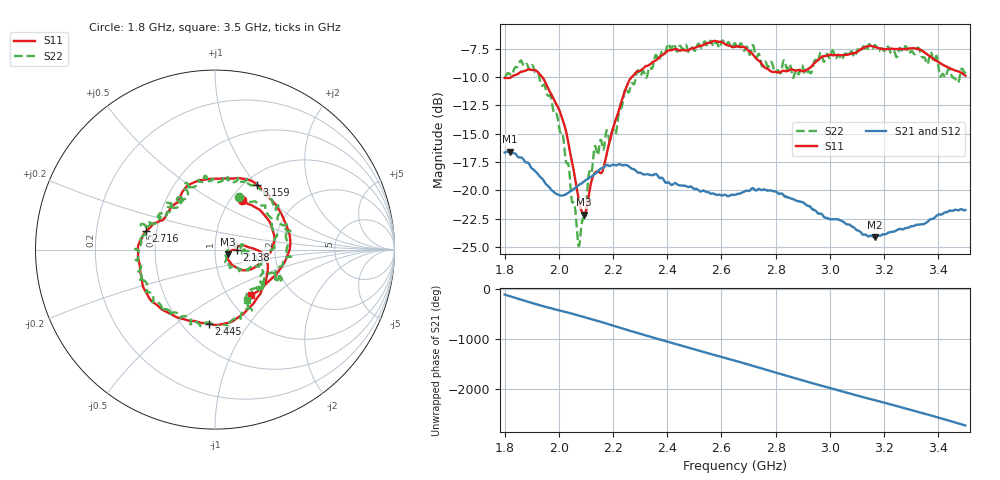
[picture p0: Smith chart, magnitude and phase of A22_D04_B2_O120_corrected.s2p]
! Created with skrf 1.9.0 (http://scikit-rf.org).
# Hz S RI R 50.0
!freq ReS11 ImS11 ReS21 ImS21 ReS12 ImS12 ReS22 ImS22
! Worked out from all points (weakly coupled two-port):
!   1601 points, 1.8 GHz to 3.5 GHz, reference 50 ohm
!   highest |S21| = -16.58 dB at 1.818 GHz (marker M1); lowest = -24.1 dB at 3.165 GHz (marker M2)
!   lowest |S11| = -22.1 dB at 2.093 GHz (marker M3), VSWR 1.17, Z = 57.9 - j2.96 ohm
!   |S11| at or under -10 dB: start of sweep to 1.826 GHz; 1.938 GHz to 2.27 GHz (331.4 MHz wide, 15.8 % of centre)
!   |S22| runs from -24.9 to -6.8 dB; largest |S21 - S12| = 0.0024
!   S11 on the Smith chart (normalised r, x): 1.8 GHz: 1.12, +0.69; 2.138 GHz: 1.28, +0.00; 2.445 GHz: 0.67, -0.66; 2.716 GHz: 0.44, +0.11; 3.159 GHz: 1.13, +1.01; 3.5 GHz: 1.28, -0.71
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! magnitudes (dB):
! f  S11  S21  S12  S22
! 1.8 GHz  -10.1  -16.7  -16.7  -9.9
! 1.818 GHz  -10.1  -16.6  -16.6  -9.7
! 1.903 GHz  -9.4  -18.1  -18.1  -9.0
! 1.968 GHz  -11.3  -19.8  -19.8  -11.7
! 2.015 GHz  -13.8  -20.4  -20.5  -15.1
! 2.071 GHz  -20.5  -19.6  -19.6  -24.7
! 2.084 GHz  -21.8  -19.4  -19.3  -23.0
! 2.093 GHz  -22.1  -19.2  -19.3  -22.5
! 2.138 GHz  -18.4  -18.5  -18.4  -16.3
! 2.162 GHz  -18.2  -18.0  -17.9  -16.3
! 2.209 GHz  -13.8  -17.8  -17.7  -15.0
! 2.259 GHz  -10.3  -17.9  -17.9  -11.3
! 2.367 GHz  -8.4  -18.8  -18.7  -8.5
! 2.445 GHz  -7.7  -19.6  -19.5  -7.3
! 2.65 GHz  -7.4  -20.4  -20.3  -7.0
! 2.716 GHz  -8.0  -19.8  -19.8  -7.2
! 2.802 GHz  -9.6  -20.1  -20.1  -9.5
! 2.934 GHz  -9.0  -21.6  -21.6  -9.5
! 3.159 GHz  -7.3  -24.1  -24.0  -7.5
! 3.165 GHz  -7.3  -24.1  -24.1  -7.2
! 3.217 GHz  -7.5  -23.7  -23.7  -7.4
! 3.5 GHz  -9.9  -21.7  -21.7  -9.5
